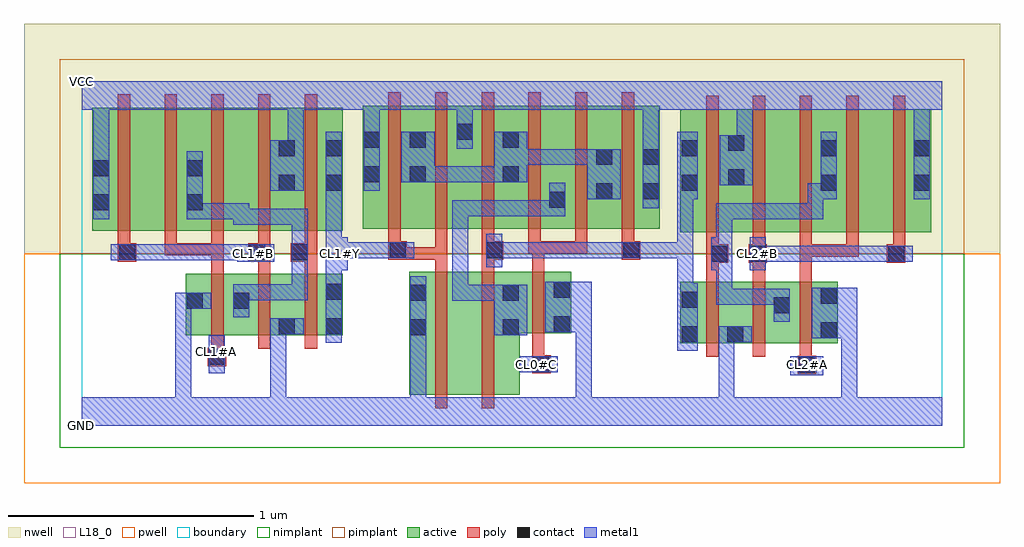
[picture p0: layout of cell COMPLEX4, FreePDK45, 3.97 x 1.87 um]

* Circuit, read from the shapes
.subckt COMPLEX4 CL0#C CL1#A CL1#B CL1#Y CL2#A CL2#B GND VCC
M1 n1 CL1#A GND VSUBS nfet w=0.25u l=0.05u
M2 GND CL1#B n1 VSUBS nfet w=0.25u l=0.05u
M3 CL1#Y n1 GND VSUBS nfet w=0.25u l=0.05u
M4 n2 CL1#Y GND VSUBS nfet w=0.5u l=0.05u
M5 n3 n4 n2 VSUBS nfet w=0.5u l=0.05u
M6 GND CL0#C n3 VSUBS nfet w=0.25u l=0.05u
M7 GND n5 n4 VSUBS nfet w=0.25u l=0.05u
M8 n5 CL2#B GND VSUBS nfet w=0.25u l=0.05u
M9 GND CL2#A n5 VSUBS nfet w=0.25u l=0.05u
M10 n6 CL1#B VCC n7 pfet w=0.5u l=0.05u
M11 n1 CL1#A n6 n7 pfet w=0.5u l=0.05u
M12 n8 CL1#A n1 n7 pfet w=0.5u l=0.05u
M13 VCC CL1#B n8 n7 pfet w=0.5u l=0.05u
M14 CL1#Y n1 VCC n7 pfet w=0.5u l=0.05u
M15 n9 CL1#Y VCC n7 pfet w=0.5u l=0.05u m=2
M16 n9 n4 VCC n7 pfet w=0.5u l=0.05u m=2
M17 n3 CL0#C n9 n7 pfet w=0.5u l=0.05u m=2
M18 VCC n5 n4 n7 pfet w=0.5u l=0.05u
M19 n10 CL2#B VCC n7 pfet w=0.5u l=0.05u
M20 n5 CL2#A n10 n7 pfet w=0.5u l=0.05u
M21 n11 CL2#A n5 n7 pfet w=0.5u l=0.05u
M22 VCC CL2#B n11 n7 pfet w=0.5u l=0.05u
.ends

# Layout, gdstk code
import gdstk
lib = gdstk.Library(unit=1e-6, precision=1e-09)
def R(c, l, rs):  # rectangles x0, y0, x1, y1
    for r in rs: c.add(gdstk.rectangle(r[:2], r[2:], *l))
def A(c, l, x, y, w, h, nx, ny, dx, dy):  # array of equal rectangles
    R(c, l, [(x+i*dx, y+j*dy, x+i*dx+w, y+j*dy+h) for i in range(nx) for j in range(ny)])
active = (1, 0)
pwell = (2, 0)
nwell = (3, 0)
nimplant = (4, 0)
pimplant = (5, 0)
poly = (9, 0)
contact = (10, 0)
metal1 = (11, 0)
L18_0 = (18, 0)
boundary = (235, 0)

complex4 = lib.new_cell('COMPLEX4')
A(complex4, active, 1.707, 0.8, 0.265, 0.5, 3, 1, 0.19, 0)
R(complex4, active, [(1.332,0.125,1.557,0.625), (1.332,0.125,1.407,0.625), (1.557,0.125,1.782,0.625), (1.707,0.2,1.782,0.625), (2.435,0.335,2.695,0.585), (2.435,0.335,2.51,0.585), (2.62,0.335,2.885,0.585), (2.62,0.335,2.695,0.497), (2.81,0.335,3.075,0.585), (3,0.35,3.075,0.585), (0.422,0.367,0.687,0.617), (0.612,0.367,0.872,0.617), (0.797,0.367,1.062,0.617), (0.797,0.367,0.872,0.497), (0.987,0.367,1.062,0.617), (1.707,0.375,1.99,0.625), (1.915,0.375,1.99,0.625), (0.422,0.395,0.497,0.617), (0.612,0.395,0.687,0.545), (2.81,0.395,2.885,0.527), (2.435,0.787,2.51,1.2), (2.435,0.787,2.7,1.287), (2.625,0.787,2.85,1.287), (2.625,0.787,2.7,1.287), (2.85,0.787,3.075,1.287), (3,0.787,3.23,1.287), (3,0.787,3.075,1.2), (3.23,0.787,3.455,1.287), (3.38,0.787,3.455,1.287), (0.042,0.792,0.267,1.292), (0.042,0.792,0.117,1.292), (0.267,0.792,0.497,1.292), (0.422,0.792,0.647,1.292), (0.422,0.792,0.497,1.2), (0.647,0.792,0.872,1.292), (0.797,0.792,0.872,1.292), (0.797,0.792,1.062,1.292), (0.987,0.792,1.062,1.2), (1.142,0.8,1.217,1.3), (1.142,0.8,1.405,1.3), (1.33,0.8,1.595,1.3), (1.33,0.8,1.405,1.2), (1.52,0.8,1.782,1.3), (1.897,0.8,1.972,1.07), (2.087,0.8,2.162,1.2), (2.277,0.8,2.352,1.3), (1.52,0.807,1.595,1.3), (1.707,0.807,1.782,1.2)])
R(complex4, pwell, [(-0.235,-0.235,3.735,0.7)])
R(complex4, nwell, [(-0.235,0.7,3.735,1.635)])
R(complex4, nimplant, [(-0.09,-0.09,3.59,0.7)])
R(complex4, pimplant, [(-0.09,0.7,3.59,1.49)])
A(complex4, poly, 2.54, 0.28, 0.05, 0.36, 3, 1, 0.19, 0)
A(complex4, poly, 0.527, 0.312, 0.05, 0.36, 3, 1, 0.19, 0)
A(complex4, poly, 2.54, 0.687, 0.05, 0.095, 5, 1, 0.19, 0)
A(complex4, poly, 0.147, 0.692, 0.05, 0.095, 5, 1, 0.19, 0)
A(complex4, poly, 1.627, 0.7, 0.05, 0.095, 4, 1, 0.19, 0)
A(complex4, poly, 2.54, 0.732, 0.05, 0.61, 5, 1, 0.19, 0)
A(complex4, poly, 0.147, 0.737, 0.05, 0.61, 5, 1, 0.19, 0)
A(complex4, poly, 1.247, 0.745, 0.05, 0.61, 6, 1, 0.19, 0)
R(complex4, poly, [(1.437,0.07,1.487,0.68), (1.627,0.07,1.677,0.68), (2.912,0.21,2.987,0.285), (1.832,0.212,1.907,0.287), (2.92,0.235,2.97,0.33), (1.832,0.237,1.882,0.37), (0.512,0.242,0.587,0.317), (0.527,0.267,0.577,0.362), (1.832,0.32,1.882,0.68), (2.54,0.59,2.59,0.712), (2.73,0.59,2.78,0.712), (2.92,0.59,2.97,0.737), (0.527,0.622,0.577,0.742), (0.717,0.622,0.767,0.717), (0.907,0.622,0.957,0.717), (1.437,0.63,1.487,0.725), (1.627,0.63,1.677,0.725), (1.832,0.63,1.882,0.75), (2.54,0.662,2.63,0.737), (2.712,0.662,2.787,0.737), (3.275,0.662,3.35,0.737), (0.147,0.667,0.222,0.742), (0.677,0.667,0.767,0.742), (0.85,0.667,0.957,0.742), (1.247,0.675,1.322,0.75), (1.272,0.675,1.457,0.725), (1.407,0.675,1.457,0.725), (1.407,0.675,1.487,0.725), (1.437,0.675,1.487,0.725), (1.437,0.675,1.487,0.795), (1.627,0.675,1.715,0.75), (2.197,0.675,2.272,0.75), (2.92,0.687,3.16,0.737), (2.92,0.687,2.97,0.737), (2.92,0.687,2.97,0.737), (2.92,0.687,2.97,0.737), (3.11,0.687,3.16,0.737), (0.337,0.692,0.577,0.742), (0.337,0.692,0.387,0.742), (0.337,0.692,0.387,0.742), (0.337,0.692,0.387,0.742), (0.527,0.692,0.577,0.742), (1.247,0.7,1.297,0.795), (1.817,0.7,1.882,0.75), (1.832,0.7,1.882,0.75), (1.832,0.7,1.882,0.75), (1.832,0.7,2.057,0.75), (2.007,0.7,2.057,0.75)])
R(complex4, contact, [(2.917,0.215,2.982,0.28), (1.837,0.217,1.902,0.282), (0.517,0.247,0.582,0.312), (2.44,0.34,2.505,0.405), (2.625,0.34,2.69,0.405), (3.005,0.355,3.07,0.42), (1.337,0.367,1.402,0.432), (1.712,0.367,1.777,0.432), (0.802,0.372,0.867,0.437), (0.992,0.372,1.057,0.437), (1.92,0.38,1.985,0.445), (2.815,0.457,2.88,0.522), (0.427,0.475,0.492,0.54), (0.617,0.475,0.682,0.54), (2.44,0.48,2.505,0.545), (3.005,0.495,3.07,0.56), (1.337,0.507,1.402,0.572), (1.712,0.507,1.777,0.572), (0.992,0.512,1.057,0.577), (1.92,0.52,1.985,0.585), (2.56,0.667,2.625,0.732), (2.717,0.667,2.782,0.732), (3.28,0.667,3.345,0.732), (0.152,0.672,0.217,0.737), (0.682,0.672,0.747,0.737), (0.855,0.672,0.92,0.737), (1.252,0.68,1.317,0.745), (1.645,0.68,1.71,0.745), (2.202,0.68,2.267,0.745), (0.047,0.875,0.112,0.94), (0.427,0.875,0.492,0.94), (1.902,0.887,1.967,0.952), (2.092,0.92,2.157,0.985), (2.282,0.92,2.347,0.985), (0.802,0.955,0.867,1.02), (0.992,0.955,1.057,1.02), (2.44,0.955,2.505,1.02), (3.005,0.955,3.07,1.02), (3.385,0.955,3.45,1.02), (2.63,0.977,2.695,1.042), (1.147,0.99,1.212,1.055), (1.335,0.99,1.4,1.055), (1.712,0.99,1.777,1.055), (0.047,1.015,0.112,1.08), (0.427,1.015,0.492,1.08), (2.092,1.06,2.157,1.125), (2.282,1.06,2.347,1.125), (0.802,1.095,0.867,1.16), (0.992,1.095,1.057,1.16), (2.44,1.095,2.505,1.16), (3.005,1.095,3.07,1.16), (3.385,1.095,3.45,1.16), (2.63,1.117,2.695,1.182), (1.147,1.13,1.212,1.195), (1.335,1.13,1.4,1.195), (1.712,1.13,1.777,1.195), (1.525,1.162,1.59,1.227)])
R(complex4, metal1, [(0,0,3.5,0.115), (0.38,0.05,0.445,0.115), (0.38,0.05,0.445,0.115), (0.38,0.05,0.445,0.115), (0.38,0.05,0.445,0.115), (0.38,0.05,0.445,0.54), (0.767,0.05,0.832,0.115), (0.767,0.05,0.832,0.115), (0.767,0.05,0.832,0.115), (0.767,0.05,0.832,0.115), (0.767,0.05,0.832,0.115), (0.767,0.05,0.832,0.115), (0.767,0.05,0.832,0.437), (1.337,0.05,1.402,0.115), (1.337,0.05,1.402,0.115), (1.337,0.05,1.402,0.397), (2.01,0.05,2.075,0.115), (2.01,0.05,2.075,0.115), (2.01,0.05,2.075,0.115), (2.01,0.05,2.075,0.115), (2.01,0.05,2.075,0.115), (2.01,0.05,2.075,0.115), (2.01,0.05,2.075,0.445), (2.59,0.05,2.655,0.115), (2.59,0.05,2.655,0.115), (2.59,0.05,2.655,0.115), (2.59,0.05,2.655,0.115), (2.59,0.05,2.655,0.115), (2.59,0.05,2.655,0.115), (2.59,0.05,2.655,0.405), (3.09,0.05,3.155,0.115), (3.09,0.05,3.155,0.115), (3.09,0.05,3.155,0.115), (3.09,0.05,3.155,0.115), (3.09,0.05,3.155,0.115), (3.09,0.05,3.155,0.115), (3.09,0.05,3.155,0.42), (2.882,0.205,3.017,0.282), (0.517,0.212,0.582,0.367), (1.782,0.217,1.937,0.282), (2.422,0.305,2.505,0.58), (1.337,0.332,1.402,0.607), (0.992,0.337,1.057,0.612), (2.59,0.34,2.725,0.405), (2.97,0.355,3.155,0.56), (1.677,0.367,1.812,0.572), (0.767,0.372,0.902,0.437), (1.885,0.38,2.075,0.585), (2.815,0.422,2.88,0.557), (0.617,0.44,0.682,0.575), (0.38,0.475,0.445,0.54), (0.38,0.475,0.445,0.54), (0.38,0.475,0.527,0.54), (2.58,0.492,2.645,0.557), (2.58,0.492,2.81,0.557), (2.58,0.492,2.645,0.697), (2.745,0.492,2.81,0.557), (2.745,0.492,2.88,0.557), (1.507,0.507,1.572,0.572), (1.507,0.507,1.572,0.572), (1.507,0.507,1.572,0.572), (1.507,0.507,1.572,0.572), (1.507,0.507,1.572,0.572), (1.507,0.507,1.742,0.572), (1.507,0.507,1.572,0.917), (0.617,0.51,0.682,0.575), (0.617,0.51,0.682,0.575), (0.617,0.51,0.92,0.575), (0.855,0.51,0.92,0.575), (0.855,0.51,0.92,0.702), (2.422,0.515,2.487,0.745), (0.992,0.547,1.057,0.697), (0.992,0.632,1.082,0.767), (2.56,0.632,2.625,0.767), (2.56,0.632,2.645,0.697), (2.58,0.632,2.645,0.697), (2.58,0.632,2.645,0.905), (2.717,0.632,2.782,0.767), (0.855,0.637,0.92,0.702), (0.855,0.637,0.92,0.702), (0.855,0.637,0.92,0.772), (0.855,0.637,0.92,0.882), (1.645,0.645,1.71,0.78), (0.632,0.667,0.782,0.737), (2.717,0.667,2.782,0.732), (2.717,0.667,2.782,0.732), (2.717,0.667,2.962,0.732), (2.897,0.667,2.962,0.732), (2.897,0.667,3.155,0.732), (3.09,0.667,3.155,0.732), (3.09,0.667,3.155,0.732), (3.09,0.667,3.155,0.732), (3.09,0.667,3.31,0.732), (3.245,0.667,3.31,0.732), (3.245,0.667,3.31,0.732), (3.245,0.667,3.38,0.732), (0.117,0.672,0.252,0.737), (0.187,0.672,0.252,0.737), (0.187,0.672,0.252,0.737), (0.187,0.672,0.39,0.737), (0.325,0.672,0.39,0.737), (0.325,0.672,0.39,0.737), (0.325,0.672,0.39,0.737), (0.325,0.672,0.545,0.737), (0.48,0.672,0.545,0.737), (0.48,0.672,0.695,0.737), (0.63,0.672,0.695,0.737), (0.63,0.672,0.697,0.737), (1.017,0.68,1.082,0.745), (1.017,0.68,1.082,0.745), (1.017,0.68,1.282,0.745), (1.217,0.68,1.352,0.745), (1.645,0.68,1.71,0.745), (1.645,0.68,1.71,0.745), (1.645,0.68,1.95,0.745), (1.885,0.68,1.95,0.745), (1.885,0.68,1.95,0.745), (1.885,0.68,1.95,0.745), (1.885,0.68,2.087,0.745), (2.022,0.68,2.087,0.745), (2.022,0.68,2.087,0.745), (2.022,0.68,2.087,0.745), (2.022,0.68,2.232,0.745), (2.167,0.68,2.302,0.745), (2.237,0.68,2.487,0.745), (2.422,0.68,2.487,0.745), (2.422,0.68,2.487,0.745), (2.422,0.68,2.487,0.745), (2.422,0.68,2.487,0.985), (0.992,0.702,1.057,0.985), (0.617,0.817,0.682,0.882), (0.617,0.817,0.682,0.882), (0.617,0.817,0.92,0.882), (0.617,0.817,0.682,0.905), (0.855,0.817,0.92,0.882), (0.047,0.84,0.112,1.115), (0.427,0.84,0.492,1.115), (0.427,0.84,0.545,0.905), (0.48,0.84,0.545,0.905), (0.48,0.84,0.682,0.905), (2.58,0.84,2.645,0.905), (2.58,0.84,2.782,0.905), (2.717,0.84,2.782,0.905), (2.717,0.84,2.782,0.905), (2.717,0.84,2.782,0.905), (2.717,0.84,3.017,0.905), (2.952,0.84,3.017,0.985), (1.507,0.852,1.572,0.917), (1.507,0.852,1.572,0.917), (1.507,0.852,1.572,0.917), (1.507,0.852,1.71,0.917), (1.645,0.852,1.71,0.917), (1.645,0.852,1.847,0.917), (1.782,0.852,1.847,0.917), (1.782,0.852,1.967,0.917), (1.902,0.852,1.967,0.987), (2.282,0.885,2.347,1.16), (0.992,0.92,1.057,1.195), (2.057,0.92,2.192,1.125), (2.422,0.92,2.505,1.195), (2.952,0.92,3.07,0.985), (3.005,0.92,3.07,1.195), (3.385,0.92,3.45,1.195), (0.767,0.955,0.902,1.16), (1.147,0.955,1.212,1.23), (2.595,0.977,2.73,1.182), (1.3,0.99,1.435,1.195), (1.37,0.99,1.435,1.055), (1.37,0.99,1.435,1.055), (1.37,0.99,1.572,1.055), (1.507,0.99,1.572,1.055), (1.507,0.99,1.572,1.055), (1.507,0.99,1.572,1.055), (1.507,0.99,1.742,1.055), (1.677,0.99,1.812,1.195), (0.047,1.05,0.112,1.35), (1.747,1.06,1.95,1.125), (1.885,1.06,1.95,1.125), (1.885,1.06,1.95,1.125), (1.885,1.06,1.95,1.125), (1.885,1.06,2.087,1.125), (2.022,1.06,2.087,1.125), (2.022,1.06,2.122,1.125), (0.837,1.095,0.902,1.35), (2.282,1.095,2.347,1.35), (2.665,1.117,2.73,1.35), (1.525,1.127,1.59,1.262), (3.385,1.13,3.45,1.35), (1.147,1.165,1.212,1.35), (1.525,1.197,1.59,1.35), (0,1.285,3.5,1.4)])
R(complex4, L18_0, [(0,0,3.5,0.115), (0.38,0.05,0.445,0.115), (0.38,0.05,0.445,0.115), (0.38,0.05,0.445,0.115), (0.38,0.05,0.445,0.115), (0.38,0.05,0.445,0.54), (0.767,0.05,0.832,0.115), (0.767,0.05,0.832,0.115), (0.767,0.05,0.832,0.115), (0.767,0.05,0.832,0.115), (0.767,0.05,0.832,0.115), (0.767,0.05,0.832,0.115), (0.767,0.05,0.832,0.437), (1.337,0.05,1.402,0.115), (1.337,0.05,1.402,0.115), (1.337,0.05,1.402,0.397), (2.01,0.05,2.075,0.115), (2.01,0.05,2.075,0.115), (2.01,0.05,2.075,0.115), (2.01,0.05,2.075,0.115), (2.01,0.05,2.075,0.115), (2.01,0.05,2.075,0.115), (2.01,0.05,2.075,0.445), (2.59,0.05,2.655,0.115), (2.59,0.05,2.655,0.115), (2.59,0.05,2.655,0.115), (2.59,0.05,2.655,0.115), (2.59,0.05,2.655,0.115), (2.59,0.05,2.655,0.115), (2.59,0.05,2.655,0.405), (3.09,0.05,3.155,0.115), (3.09,0.05,3.155,0.115), (3.09,0.05,3.155,0.115), (3.09,0.05,3.155,0.115), (3.09,0.05,3.155,0.115), (3.09,0.05,3.155,0.115), (3.09,0.05,3.155,0.42), (2.882,0.205,3.017,0.282), (0.517,0.212,0.582,0.367), (1.782,0.217,1.937,0.282), (1.817,0.217,1.882,0.282), (2.917,0.217,2.982,0.282), (0.517,0.267,0.582,0.332), (1.337,0.332,1.402,0.607), (0.992,0.337,1.057,0.612), (2.59,0.34,2.725,0.405), (2.97,0.355,3.155,0.56), (0.767,0.372,0.902,0.437), (1.885,0.38,2.075,0.585), (0.38,0.475,0.445,0.54), (0.38,0.475,0.445,0.54), (0.38,0.475,0.527,0.54), (0.992,0.547,1.057,0.697), (0.992,0.632,1.082,0.767), (2.717,0.632,2.782,0.767), (0.632,0.667,0.782,0.737), (0.667,0.667,0.732,0.732), (1.017,0.667,1.082,0.732), (2.717,0.667,2.782,0.732), (2.717,0.667,2.782,0.732), (2.717,0.667,2.782,0.732), (2.717,0.667,2.962,0.732), (2.897,0.667,2.962,0.732), (2.897,0.667,3.155,0.732), (3.09,0.667,3.155,0.732), (3.09,0.667,3.155,0.732), (3.09,0.667,3.155,0.732), (3.09,0.667,3.31,0.732), (3.245,0.667,3.38,0.732), (3.245,0.667,3.31,0.732), (3.245,0.667,3.31,0.732), (0.117,0.672,0.252,0.737), (0.187,0.672,0.252,0.737), (0.187,0.672,0.252,0.737), (0.187,0.672,0.39,0.737), (0.325,0.672,0.39,0.737), (0.325,0.672,0.39,0.737), (0.325,0.672,0.39,0.737), (0.325,0.672,0.545,0.737), (0.48,0.672,0.545,0.737), (0.48,0.672,0.695,0.737), (0.63,0.672,0.695,0.737), (0.63,0.672,0.697,0.737), (1.017,0.68,1.082,0.745), (1.017,0.68,1.082,0.745), (1.017,0.68,1.282,0.745), (1.217,0.68,1.352,0.745), (0.992,0.702,1.057,0.985), (0.047,0.84,0.112,1.115), (2.282,0.885,2.347,1.16), (0.992,0.92,1.057,1.195), (3.385,0.92,3.45,1.195), (0.767,0.955,0.902,1.16), (1.147,0.955,1.212,1.23), (2.595,0.977,2.73,1.182), (0.047,1.05,0.112,1.35), (0.837,1.095,0.902,1.35), (2.282,1.095,2.347,1.35), (2.665,1.117,2.73,1.35), (1.525,1.127,1.59,1.262), (3.385,1.13,3.45,1.35), (1.147,1.165,1.212,1.35), (1.525,1.197,1.59,1.35), (0,1.285,3.5,1.4)])
R(complex4, boundary, [(0,0,3.5,1.4)])
complex4.add(gdstk.Label('CL0#C', (1.85,0.25), layer=11, texttype=0))
complex4.add(gdstk.Label('CL1#A', (0.55,0.3), layer=11, texttype=0))
complex4.add(gdstk.Label('CL1#B', (0.7,0.7), layer=11, texttype=0))
complex4.add(gdstk.Label('CL1#Y', (1.05,0.7), layer=11, texttype=0))
complex4.add(gdstk.Label('CL2#A', (2.95,0.25), layer=11, texttype=0))
complex4.add(gdstk.Label('CL2#B', (2.75,0.7), layer=11, texttype=0))
complex4.add(gdstk.Label('VCC', (0,1.4), layer=11, texttype=0))
complex4.add(gdstk.Label('GND', (0,0), layer=11, texttype=0))

lib.write_gds('COMPLEX4.gds')
